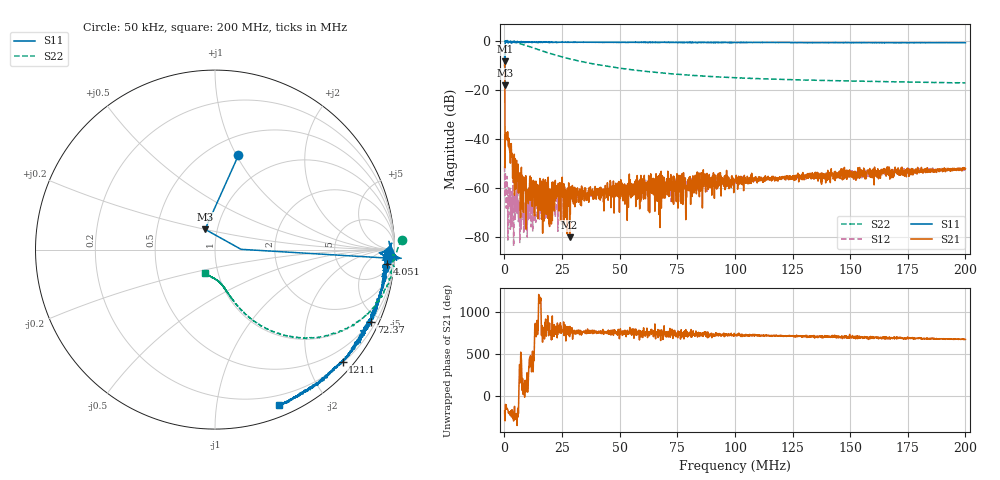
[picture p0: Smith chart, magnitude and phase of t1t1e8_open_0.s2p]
! 27-Aug-26 2:19:44 PM
! E:\20260827_VNA\T1T1E8_OPEN_0.S2P
! CHANNEL.1
! TR.MEASUREMENT
! CORRECTED.DATA
# GHZ S RI R 50.0
! FREQ.GHZ  S11RE  S11IM  S21RE  S21IM  S12RE  S12IM  S22RE  S22IM
!; PortSelection: Port_12
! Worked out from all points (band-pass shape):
!   2000 points, 50 kHz to 200 MHz, reference 50 ohm
!   highest |S21| = -8.16 dB at 150 kHz (marker M1); lowest = -79.9 dB at 28.26 MHz (marker M2)
!   |S21| within 3 dB of the highest: start of sweep to 156.9 kHz
!   lowest |S11| = -18.0 dB at 150 kHz (marker M3), VSWR 1.29, Z = 43.7 + j10 ohm
!   |S11| at or under -10 dB: 86.8 kHz to 289.9 kHz (203.1 kHz wide, 108 % of centre)
!   |S22| runs from -17.0 to 0.4 dB; largest |S21 - S12| = 0.39
!   S11 on the Smith chart (normalised r, x): 50 kHz: 0.69, +1.02; 4.051 MHz: 10, -20; 72.37 MHz: 0.43, -4.50; 121.1 MHz: 0.22, -2.64; 200 MHz: 0.10, -1.49
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5e-05  0.1305 0.5251  -0.3208 -0.0183  -0.000537 0.00277  1.04 0.0551
0.000150025  -0.055 0.113  0.03 0.3898  0.000438 0.000608  1.017 0.0042
0.0012503  0.9642 -0.0255  -0.00956 -0.00491  0.000925 0.000488  0.998 -0.0955
0.002350575  0.9634 -0.0882  -0.00548 0.00118  -1.43e-05 0.00101  0.9699 -0.1619
0.004051001  0.9593 -0.0779  0.000642 0.00304  -0.000265 2.2e-06  0.9149 -0.2723
0.008752176  0.9762 -0.0487  0.00133 -0.000277  -0.00011 0.000129  0.7069 -0.4552
0.01185295  0.9736 -0.0976  0.000113 0.000977  3.7e-06 0.000314  0.5709 -0.4897
0.0164541  0.9541 -0.0884  0.000127 -0.000395  2.86e-05 0.000602  0.4106 -0.4849
0.0176544  0.949 -0.0879  0.00091 0.00056  -2.33e-05 0.000237  0.3788 -0.4758
0.01975493  0.9379 -0.1156  0.000472 0.000159  0.000214 0.000469  0.3316 -0.4611
0.02295573  0.9469 -0.1344  -0.000684 0.000331  0.000313 0.000678  0.2722 -0.4325
0.02735683  0.9539 -0.157  0.000969 0.000295  0.000381 0.000396  0.2136 -0.3951
0.02825705  0.938 -0.1656  0.0001 -1.47e-05  0.000458 0.000513  0.2059 -0.3896
0.03345835  0.9356 -0.1946  0.000769 0.00081  0.000395 0.000618  0.1611 -0.3509
0.06676668  0.883 -0.3644  0.00175 0.000378  0.000938 0.000577  0.0586 -0.2226
0.07236808  0.8714 -0.4035  0.000833 0.000371  0.000848 0.000341  0.0512 -0.2111
0.08727181  0.8245 -0.4684  0.000838 0.000101  0.00107 0.000317  0.0342 -0.1912
0.100075  0.7835 -0.5338  0.00152 0.000138  0.00122 0.000105  0.0224 -0.1799
0.1210803  0.7107 -0.6241  0.00169 -1.37e-05  0.0016 -0.000103  0.00537 -0.1669
0.1333833  0.661 -0.6668  0.00187 -0.000317  0.00173 -0.00022  -0.00395 -0.1616
0.1666917  0.519 -0.7855  0.00187 -0.000745  0.00191 -0.00111  -0.0299 -0.1477
0.2  0.3562 -0.8675  0.0019 -0.00168  0.00179 -0.00161  -0.0555 -0.1304
